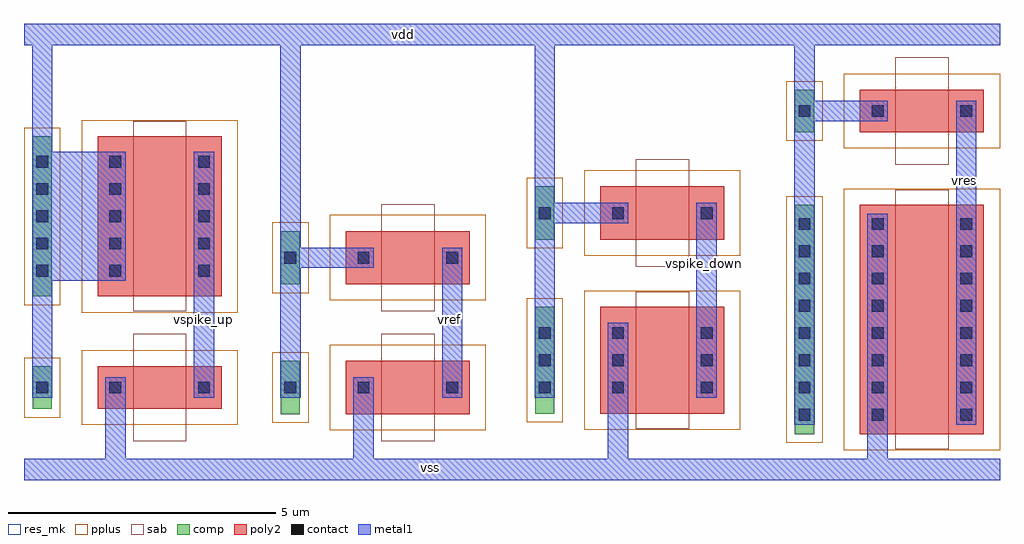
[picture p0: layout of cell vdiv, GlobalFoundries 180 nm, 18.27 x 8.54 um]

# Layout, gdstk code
import gdstk
lib = gdstk.Library(unit=1e-6, precision=5e-09)
def R(c, l, rs):  # rectangles x0, y0, x1, y1
    for r in rs: c.add(gdstk.rectangle(r[:2], r[2:], *l))
def A(c, l, x, y, w, h, nx, ny, dx, dy):  # array of equal rectangles
    R(c, l, [(x+i*dx, y+j*dy, x+i*dx+w, y+j*dy+h) for i in range(nx) for j in range(ny)])
def P(c, l, *ps):  # polygons
    for p in ps: c.add(gdstk.Polygon(p, *l))
comp = (22, 0)
poly2 = (30, 0)
pplus = (31, 0)
contact = (33, 0)
metal1 = (34, 0)
sab = (49, 0)
res_mk = (110, 5)

ppolyf_u_resistor_1 = lib.new_cell('ppolyf_u_resistor$1')
R(ppolyf_u_resistor_1, comp, [(-1.88,0,-1.52,3)])
R(ppolyf_u_resistor_1, poly2, [(-0.66,0,1.66,3)])
R(ppolyf_u_resistor_1, pplus, [(-0.96,-0.3,1.96,3.3), (-2.04,-0.16,-1.36,3.16)])
A(ppolyf_u_resistor_1, contact, -1.81, 0.37, 0.22, 0.22, 1, 5, 0, 0.51)
A(ppolyf_u_resistor_1, contact, -0.44, 0.37, 0.22, 0.22, 1, 5, 0, 0.51)
A(ppolyf_u_resistor_1, contact, 1.22, 0.37, 0.22, 0.22, 1, 5, 0, 0.51)
R(ppolyf_u_resistor_1, metal1, [(-1.89,0.29,-1.51,2.71), (-0.52,0.29,-0.14,2.71), (1.14,0.29,1.52,2.71)])
R(ppolyf_u_resistor_1, sab, [(0,-0.28,1,3.28)])
R(ppolyf_u_resistor_1, res_mk, [(0,0,1,3)])

ppolyf_u_resistor_2 = lib.new_cell('ppolyf_u_resistor$2')
R(ppolyf_u_resistor_2, comp, [(-1.88,0,-1.52,0.8)])
R(ppolyf_u_resistor_2, poly2, [(-0.66,0,1.66,0.8)])
R(ppolyf_u_resistor_2, pplus, [(-0.96,-0.3,1.96,1.1), (-2.04,-0.16,-1.36,0.96)])
R(ppolyf_u_resistor_2, contact, [(-1.81,0.29,-1.59,0.51), (-0.44,0.29,-0.22,0.51), (1.22,0.29,1.44,0.51)])
R(ppolyf_u_resistor_2, metal1, [(-1.89,0.21,-1.51,0.59), (-0.52,0.21,-0.14,0.59), (1.14,0.21,1.52,0.59)])
R(ppolyf_u_resistor_2, sab, [(0,-0.605,1,1.405)])
R(ppolyf_u_resistor_2, res_mk, [(0,0,1,0.8)])

ppolyf_u_resistor = lib.new_cell('ppolyf_u_resistor')
R(ppolyf_u_resistor, comp, [(-1.88,0,-1.52,1)])
R(ppolyf_u_resistor, poly2, [(-0.66,0,1.66,1)])
R(ppolyf_u_resistor, pplus, [(-0.96,-0.3,1.96,1.3), (-2.04,-0.16,-1.36,1.16)])
R(ppolyf_u_resistor, contact, [(-1.81,0.39,-1.59,0.61), (-0.44,0.39,-0.22,0.61), (1.22,0.39,1.44,0.61)])
R(ppolyf_u_resistor, metal1, [(-1.89,0.31,-1.51,0.69), (-0.52,0.31,-0.14,0.69), (1.14,0.31,1.52,0.69)])
R(ppolyf_u_resistor, sab, [(0,-0.505,1,1.505)])
R(ppolyf_u_resistor, res_mk, [(0,0,1,1)])

ppolyf_u_resistor_3 = lib.new_cell('ppolyf_u_resistor$3')
R(ppolyf_u_resistor_3, comp, [(-1.88,0,-1.52,2)])
R(ppolyf_u_resistor_3, poly2, [(-0.66,0,1.66,2)])
R(ppolyf_u_resistor_3, pplus, [(-0.96,-0.3,1.96,2.3), (-2.04,-0.16,-1.36,2.16)])
A(ppolyf_u_resistor_3, contact, -1.81, 0.38, 0.22, 0.22, 1, 3, 0, 0.51)
A(ppolyf_u_resistor_3, contact, -0.44, 0.38, 0.22, 0.22, 1, 3, 0, 0.51)
A(ppolyf_u_resistor_3, contact, 1.22, 0.38, 0.22, 0.22, 1, 3, 0, 0.51)
R(ppolyf_u_resistor_3, metal1, [(-1.89,0.3,-1.51,1.7), (-0.52,0.3,-0.14,1.7), (1.14,0.3,1.52,1.7)])
R(ppolyf_u_resistor_3, sab, [(0,-0.28,1,2.28)])
R(ppolyf_u_resistor_3, res_mk, [(0,0,1,2)])

ppolyf_u_resistor_4 = lib.new_cell('ppolyf_u_resistor$4')
R(ppolyf_u_resistor_4, comp, [(-1.88,0,-1.52,4.3)])
R(ppolyf_u_resistor_4, poly2, [(-0.66,0,1.66,4.3)])
R(ppolyf_u_resistor_4, pplus, [(-0.96,-0.3,1.96,4.6), (-2.04,-0.16,-1.36,4.46)])
A(ppolyf_u_resistor_4, contact, -1.81, 0.255, 0.22, 0.22, 1, 8, 0, 0.51)
A(ppolyf_u_resistor_4, contact, -0.44, 0.255, 0.22, 0.22, 1, 8, 0, 0.51)
A(ppolyf_u_resistor_4, contact, 1.22, 0.255, 0.22, 0.22, 1, 8, 0, 0.51)
R(ppolyf_u_resistor_4, metal1, [(-1.89,0.175,-1.51,4.125), (-0.52,0.175,-0.14,4.125), (1.14,0.175,1.52,4.125)])
R(ppolyf_u_resistor_4, sab, [(0,-0.28,1,4.58)])
R(ppolyf_u_resistor_4, res_mk, [(0,0,1,4.3)])

vdiv = lib.new_cell('vdiv')
R(vdiv, metal1, [(1.515,-1.45,1.895,0.91), (6.16,-1.45,6.54,1.015), (10.92,-1.45,11.3,1.82), (15.78,0.435,16.16,3.785)])
P(vdiv, metal1, [(3.13,-1.45),(3.13,5.15),(-1.135,5.15),(-1.135,3.155),(0.105,3.155),(0.105,0.735),(-1.135,0.735),(-1.135,-1.11),(-1.515,-1.11),(-1.515,5.15),(-1.665,5.15),(-1.665,5.55),(16.6,5.55),(16.6,5.15),(13.13,5.15),(13.13,4.105),(14.295,4.105),(14.295,3.725),(13.13,3.725),(13.13,-0.685),(12.75,-0.685),(12.75,5.15),(8.27,5.15),(8.27,2.195),(9.44,2.195),(9.44,1.815),(8.27,1.815),(8.27,-1.445),(7.89,-1.445),(7.89,5.15),(3.51,5.15),(3.51,1.36),(4.655,1.36),(4.655,0.98),(3.51,0.98),(3.51,-1.45)],
  [(-1.665,-2.995),(-1.665,-2.595),(-0.145,-2.595),(-0.145,-1.07),(0.235,-1.07),(0.235,-2.595),(4.5,-2.595),(4.5,-1.07),(4.88,-1.07),(4.88,-2.595),(9.26,-2.595),(9.26,-0.05),(9.64,-0.05),(9.64,-2.595),(14.12,-2.595),(14.12,-1.3),(14.5,-1.3),(14.5,-2.595),(16.6,-2.595),(16.6,-2.995)])
vdiv.add(gdstk.Reference(ppolyf_u_resistor_1, (0.375,0.445)))
vdiv.add(gdstk.Reference(ppolyf_u_resistor_2, (0.375,-1.66)))
vdiv.add(gdstk.Reference(ppolyf_u_resistor, (5.02,0.67)))
vdiv.add(gdstk.Reference(ppolyf_u_resistor, (5.02,-1.76)))
vdiv.add(gdstk.Reference(ppolyf_u_resistor_3, (9.78,-1.75)))
vdiv.add(gdstk.Reference(ppolyf_u_resistor_2, (14.64,3.515)))
vdiv.add(gdstk.Reference(ppolyf_u_resistor_4, (14.64,-2.135)))
vdiv.add(gdstk.Reference(ppolyf_u_resistor, (9.78,1.505)))
vdiv.add(gdstk.Label('vdd', (5.435,5.34), layer=34, texttype=10))
vdiv.add(gdstk.Label('vss', (5.95,-2.76), layer=34, texttype=10))
vdiv.add(gdstk.Label('vspike_up', (1.695,0.01), layer=34, texttype=10))
vdiv.add(gdstk.Label('vref', (6.295,0.02), layer=34, texttype=10))
vdiv.add(gdstk.Label('vspike_down', (11.075,1.06), layer=34, texttype=10))
vdiv.add(gdstk.Label('vres', (15.935,2.61), layer=34, texttype=10))

lib.write_gds('vdiv.gds')
